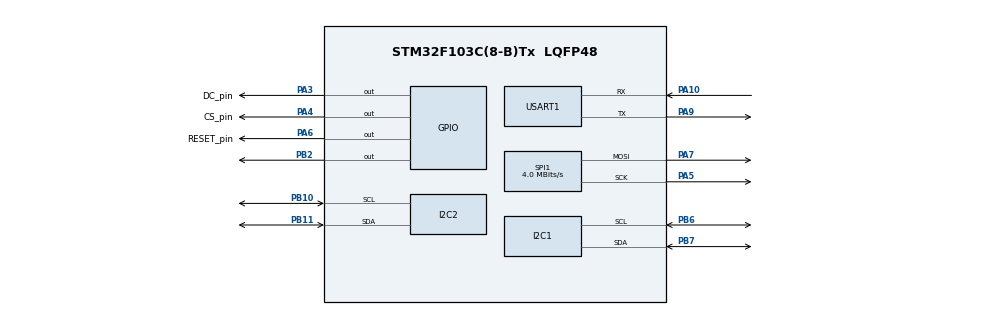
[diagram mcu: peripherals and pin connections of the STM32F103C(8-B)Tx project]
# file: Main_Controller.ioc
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I2C1.OwnAddress=0x12
Mcu.Family=STM32F1
Mcu.Name=STM32F103C(8-B)Tx
Mcu.Package=LQFP48
NVIC.I2C1_ER_IRQn=true\:0\:0\:false\:false\:true\:true\:true\:true
NVIC.I2C1_EV_IRQn=true\:0\:0\:false\:false\:true\:true\:true\:true
NVIC.PriorityGroup=NVIC_PRIORITYGROUP_4
PA10.Mode=Asynchronous
PA10.Signal=USART1_RX
PA13.Mode=Serial_Wire
PA13.Signal=SYS_JTMS-SWDIO
PA14.Mode=Serial_Wire
PA14.Signal=SYS_JTCK-SWCLK
PA3.GPIO_Label=DC_pin
PA3.Signal=GPIO_Output
PA4.GPIO_Label=CS_pin
PA4.Signal=GPIO_Output
PA5.Mode=TX_Only_Simplex_Unidirect_Master
PA5.Signal=SPI1_SCK
PA6.GPIO_Label=RESET_pin
PA6.Signal=GPIO_Output
PA7.Mode=TX_Only_Simplex_Unidirect_Master
PA7.Signal=SPI1_MOSI
PA9.Mode=Asynchronous
PA9.Signal=USART1_TX
PB10.Mode=I2C
PB10.Signal=I2C2_SCL
PB11.Mode=I2C
PB11.Signal=I2C2_SDA
PB2.Signal=GPIO_Output
PB6.Mode=I2C
PB6.Signal=I2C1_SCL
PB7.Mode=I2C
PB7.Signal=I2C1_SDA
ProjectManager.HeapSize=0x200
ProjectManager.StackSize=0x400
ProjectManager.TargetToolchain=STM32CubeIDE
RCC.APB1Freq_Value=8000000
RCC.APB2Freq_Value=8000000
SPI1.CalculateBaudRate=4.0 MBits/s
SPI1.Direction=SPI_DIRECTION_2LINES
SPI1.Mode=SPI_MODE_MASTER
SPI1.VirtualType=VM_MASTER
USART1.VirtualMode=VM_ASYNC
board=custom

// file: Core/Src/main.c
/* USER CODE BEGIN Header */
/**
  ******************************************************************************
  * @file           : main.c
  * @brief          : Main program body
  ******************************************************************************
  * @attention
  *
  * Copyright (c) 2025 STMicroelectronics.
  * All rights reserved.
  *
  * This software is licensed under terms that can be found in the LICENSE file
  * in the root directory of this software component.
  * If no LICENSE file comes with this software, it is provided AS-IS.
  *
  ******************************************************************************
  */
/* USER CODE END Header */
#include "main.h"

/* USER CODE BEGIN Includes */
#include "I2C_Transmit.h"
#include "I2C_Receive.h"
#include "ssd1306.h"
#include "ssd1306_fonts.h"
#include "string.h"
#include "stdio.h"
/* USER CODE END Includes */

/* USER CODE BEGIN PD */
#define DI_Address 0x10
#define AI_Address 0x11
#define DO_Address 0x14
#define AO_Address 0x12
/* USER CODE END PD */

I2C_HandleTypeDef hi2c1;
I2C_HandleTypeDef hi2c2;

SPI_HandleTypeDef hspi1;

UART_HandleTypeDef huart1;

/* USER CODE BEGIN PV */
uint8_t digitalData;
uint8_t analogBuffer[2];
uint16_t analogData;

char analog_displayBuffer[4];
char digital_displayBuffer[9] = "";
/* USER CODE END PV */

void SystemClock_Config(void);
static void MX_GPIO_Init(void);
static void MX_I2C1_Init(void);
static void MX_I2C2_Init(void);
static void MX_SPI1_Init(void);
static void MX_USART1_UART_Init(void);

int main(void)
{

  /* MCU Configuration--------------------------------------------------------*/

  /* Reset of all peripherals, Initializes the Flash interface and the Systick. */
  HAL_Init();

  /* Configure the system clock */
  SystemClock_Config();

  /* Initialize all configured peripherals */
  MX_GPIO_Init();
  MX_I2C1_Init();
  MX_I2C2_Init();
  MX_SPI1_Init();
  MX_USART1_UART_Init();
  /* USER CODE BEGIN 2 */
  ssd1306_Init();
  //uart_buffer[0] = 0xAA; // Start byte for data framing in ESP32

  /* USER CODE END 2 */

  /* Infinite loop */
  /* USER CODE BEGIN WHILE */
  while (1)
  {

	  HAL_I2C_Master_Receive(&hi2c1, DI_Address << 1, &digitalData, 1,100);
	  HAL_I2C_Master_Receive(&hi2c1, AI_Address << 1, analogBuffer, 2,100);

	  analogData = ((uint16_t) analogBuffer[0] << 8) | analogBuffer[1];
	/*for(int i = 0; i < 8; i++){
		digital_displayBuffer[i] = decodedBits[i] ? '1' : '0';
	}
	digital_displayBuffer[8] = '\0';

	sprintf(analog_displayBuffer, "%hu",analog_val);

	ssd1306_Fill(Black); // For the background color selection
	ssd1306_SetCursor(2, 0);	// To point to a pixel to start writing from
	ssd1306_WriteString("AO: ", Font_11x18, White); // To write the desired text on screen
	ssd1306_SetCursor(77,0);
	ssd1306_WriteString(analog_displayBuffer, Font_11x18 , White);
	ssd1306_SetCursor(2, 20);	// To point to a pixel to start writing from
	ssd1306_WriteString("DO: ", Font_11x18, White); // To write the desired text on screen
	ssd1306_SetCursor(35,20);
	ssd1306_WriteString(digital_displayBuffer, Font_11x18 , White);
	ssd1306_UpdateScreen();
	Transferring received data to digital output module
	* and analog output module
	*/
	writeData(&digitalData,DO_Address,1);
	//HAL_UART_Transmit(&huart1, uart_buffer, 4, 1);
	writeData(analogBuffer, AO_Address, 2);
    /* USER CODE END WHILE */

  }
}

void SystemClock_Config(void)
{
  RCC_OscInitTypeDef RCC_OscInitStruct = {0};
  RCC_ClkInitTypeDef RCC_ClkInitStruct = {0};

  /** Initializes the RCC Oscillators according to the specified parameters
  * in the RCC_OscInitTypeDef structure.
  */
  RCC_OscInitStruct.OscillatorType = RCC_OSCILLATORTYPE_HSI;
  RCC_OscInitStruct.HSIState = RCC_HSI_ON;
  RCC_OscInitStruct.HSICalibrationValue = RCC_HSICALIBRATION_DEFAULT;
  RCC_OscInitStruct.PLL.PLLState = RCC_PLL_NONE;
  if (HAL_RCC_OscConfig(&RCC_OscInitStruct) != HAL_OK)
  {
    Error_Handler();
  }

  /** Initializes the CPU, AHB and APB buses clocks
  */
  RCC_ClkInitStruct.ClockType = RCC_CLOCKTYPE_HCLK|RCC_CLOCKTYPE_SYSCLK
                              |RCC_CLOCKTYPE_PCLK1|RCC_CLOCKTYPE_PCLK2;
  RCC_ClkInitStruct.SYSCLKSource = RCC_SYSCLKSOURCE_HSI;
  RCC_ClkInitStruct.AHBCLKDivider = RCC_SYSCLK_DIV1;
  RCC_ClkInitStruct.APB1CLKDivider = RCC_HCLK_DIV1;
  RCC_ClkInitStruct.APB2CLKDivider = RCC_HCLK_DIV1;

  if (HAL_RCC_ClockConfig(&RCC_ClkInitStruct, FLASH_LATENCY_0) != HAL_OK)
  {
    Error_Handler();
  }
}

static void MX_I2C1_Init(void)
{

  hi2c1.Instance = I2C1;
  hi2c1.Init.ClockSpeed = 100000;
  hi2c1.Init.DutyCycle = I2C_DUTYCYCLE_2;
  hi2c1.Init.OwnAddress1 = 36;
  hi2c1.Init.AddressingMode = I2C_ADDRESSINGMODE_7BIT;
  hi2c1.Init.DualAddressMode = I2C_DUALADDRESS_DISABLE;
  hi2c1.Init.OwnAddress2 = 0;
  hi2c1.Init.GeneralCallMode = I2C_GENERALCALL_DISABLE;
  hi2c1.Init.NoStretchMode = I2C_NOSTRETCH_DISABLE;
  if (HAL_I2C_Init(&hi2c1) != HAL_OK)
  {
    Error_Handler();
  }

}

static void MX_I2C2_Init(void)
{

  hi2c2.Instance = I2C2;
  hi2c2.Init.ClockSpeed = 100000;
  hi2c2.Init.DutyCycle = I2C_DUTYCYCLE_2;
  hi2c2.Init.OwnAddress1 = 0;
  hi2c2.Init.AddressingMode = I2C_ADDRESSINGMODE_7BIT;
  hi2c2.Init.DualAddressMode = I2C_DUALADDRESS_DISABLE;
  hi2c2.Init.OwnAddress2 = 0;
  hi2c2.Init.GeneralCallMode = I2C_GENERALCALL_DISABLE;
  hi2c2.Init.NoStretchMode = I2C_NOSTRETCH_DISABLE;
  if (HAL_I2C_Init(&hi2c2) != HAL_OK)
  {
    Error_Handler();
  }

}

static void MX_SPI1_Init(void)
{

  /* SPI1 parameter configuration*/
  hspi1.Instance = SPI1;
  hspi1.Init.Mode = SPI_MODE_MASTER;
  hspi1.Init.Direction = SPI_DIRECTION_2LINES;
  hspi1.Init.DataSize = SPI_DATASIZE_8BIT;
  hspi1.Init.CLKPolarity = SPI_POLARITY_LOW;
  hspi1.Init.CLKPhase = SPI_PHASE_1EDGE;
  hspi1.Init.NSS = SPI_NSS_SOFT;
  hspi1.Init.BaudRatePrescaler = SPI_BAUDRATEPRESCALER_2;
  hspi1.Init.FirstBit = SPI_FIRSTBIT_MSB;
  hspi1.Init.TIMode = SPI_TIMODE_DISABLE;
  hspi1.Init.CRCCalculation = SPI_CRCCALCULATION_DISABLE;
  hspi1.Init.CRCPolynomial = 10;
  if (HAL_SPI_Init(&hspi1) != HAL_OK)
  {
    Error_Handler();
  }

}

static void MX_USART1_UART_Init(void)
{

  huart1.Instance = USART1;
  huart1.Init.BaudRate = 115200;
  huart1.Init.WordLength = UART_WORDLENGTH_8B;
  huart1.Init.StopBits = UART_STOPBITS_1;
  huart1.Init.Parity = UART_PARITY_NONE;
  huart1.Init.Mode = UART_MODE_TX_RX;
  huart1.Init.HwFlowCtl = UART_HWCONTROL_NONE;
  huart1.Init.OverSampling = UART_OVERSAMPLING_16;
  if (HAL_UART_Init(&huart1) != HAL_OK)
  {
    Error_Handler();
  }

}

static void MX_GPIO_Init(void)
{
  GPIO_InitTypeDef GPIO_InitStruct = {0};

  /* GPIO Ports Clock Enable */
  __HAL_RCC_GPIOA_CLK_ENABLE();
  __HAL_RCC_GPIOB_CLK_ENABLE();

  /*Configure GPIO pin Output Level */
  HAL_GPIO_WritePin(GPIOA, DC_pin_Pin|CS_pin_Pin|RESET_pin_Pin, GPIO_PIN_RESET);

  /*Configure GPIO pin Output Level */
  HAL_GPIO_WritePin(GPIOB, GPIO_PIN_2, GPIO_PIN_RESET);

  /*Configure GPIO pins : DC_pin_Pin CS_pin_Pin RESET_pin_Pin */
  GPIO_InitStruct.Pin = DC_pin_Pin|CS_pin_Pin|RESET_pin_Pin;
  GPIO_InitStruct.Mode = GPIO_MODE_OUTPUT_PP;
  GPIO_InitStruct.Pull = GPIO_NOPULL;
  GPIO_InitStruct.Speed = GPIO_SPEED_FREQ_LOW;
  HAL_GPIO_Init(GPIOA, &GPIO_InitStruct);

  /*Configure GPIO pin : PB2 */
  GPIO_InitStruct.Pin = GPIO_PIN_2;
  GPIO_InitStruct.Mode = GPIO_MODE_OUTPUT_PP;
  GPIO_InitStruct.Pull = GPIO_NOPULL;
  GPIO_InitStruct.Speed = GPIO_SPEED_FREQ_LOW;
  HAL_GPIO_Init(GPIOB, &GPIO_InitStruct);

}

void Error_Handler(void)
{
  __disable_irq();
  while (1)
  {
  }
}
